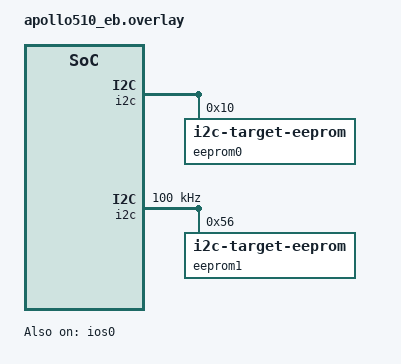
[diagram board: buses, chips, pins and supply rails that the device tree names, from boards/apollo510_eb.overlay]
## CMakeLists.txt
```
# SPDX-License-Identifier: Apache-2.0

cmake_minimum_required(VERSION 3.28.0)

find_package(Zephyr REQUIRED HINTS $ENV{ZEPHYR_BASE})
project(i2c_target_api)

add_subdirectory(common)

target_sources(app PRIVATE src/main.c)
target_sources_ifdef(CONFIG_I2C_TARGET_API_PM app PRIVATE src/test_i2c_pm.c)
```

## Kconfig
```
# SPDX-License-Identifier: Apache-2.0

mainmenu "I2C Target API Test"

source "Kconfig.zephyr"

source "tests/drivers/i2c/i2c_target_api/common/Kconfig"
```

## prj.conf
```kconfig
CONFIG_LOG=y
CONFIG_I2C_LOG_LEVEL_INF=y
CONFIG_BOOT_BANNER=y
CONFIG_ZTEST=y
CONFIG_I2C=y
CONFIG_I2C_TARGET=y
CONFIG_I2C_EEPROM_TARGET=y
CONFIG_I2C_VIRTUAL=y
```

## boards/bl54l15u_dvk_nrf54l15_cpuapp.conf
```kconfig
# Copyright (c) 2024 Nordic Semiconductor ASA
# Copyright (c) 2025 Ezurio LLC
# SPDX-License-Identifier: Apache-2.0

CONFIG_I2C_TARGET_BUFFER_MODE=y
CONFIG_I2C_NRFX_TWIS_BUF_SIZE=256
```

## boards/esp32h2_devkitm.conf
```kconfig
CONFIG_I2C=y
CONFIG_I2C_TARGET=y
CONFIG_APP_DUAL_ROLE_I2C=y
```

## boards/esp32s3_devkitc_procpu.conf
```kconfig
CONFIG_APP_DUAL_ROLE_I2C=y
```

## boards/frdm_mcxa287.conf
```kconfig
# SPDX-FileCopyrightText: Copyright 2026 NXP
# SPDX-License-Identifier: Apache-2.0

CONFIG_I2C_MCUX_LPI2C_BUS_RECOVERY=y
```

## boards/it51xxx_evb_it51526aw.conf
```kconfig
CONFIG_I2C_VIRTUAL=n
```

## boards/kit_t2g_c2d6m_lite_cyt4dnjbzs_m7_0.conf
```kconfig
# SPDX-FileCopyrightText: Copyright (c) 2026 Linumiz
#
# SPDX-License-Identifier: Apache-2.0

CONFIG_I2C_VIRTUAL=n
```

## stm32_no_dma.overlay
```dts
/*
 * SPDX-FileCopyrightText: Copyright The Zephyr Project Contributors
 * SPDX-License-Identifier: Apache-2.0
 */

/* Disable use of DMAs on both I2C interfaces */

&i2c_test_0 {
	/delete-property/ dmas;
	/delete-property/ dma-names;
};

&i2c_test_1 {
	/delete-property/ dmas;
	/delete-property/ dma-names;
};
```

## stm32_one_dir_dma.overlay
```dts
/*
 * SPDX-FileCopyrightText: Copyright The Zephyr Project Contributors
 * SPDX-License-Identifier: Apache-2.0
 */

/* Use DMA only in 1 direction */

&i2c_test_0 {
	dmas = IC2_TEST_0_DMA_RX;
	dma-names = "rx";
};

&i2c_test_1 {
	dmas = IC2_TEST_1_DMA_TX;
	dma-names = "tx";
};
```

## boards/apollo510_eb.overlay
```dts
/* SPDX-License-Identifier: Apache-2.0 */
/* Copyright (c) 2025 Ambiq Micro Inc. */

/*
 * Apollo510 EB overlay for tests/drivers/i2c/i2c_target_api
 *
 * - IOS acts as I2C target (SCL=P11, SDA=P52)
 * - IOM5 acts as I2C master (SCL=P47, SDA=P48)
 * - Physically short SCL and SDA pairs with pull-ups.
 */

&ios0 {
	status = "okay";

	i2c {
		compatible = "ambiq,ios-i2c";
		#address-cells = <1>;
		#size-cells = <0>;
		pinctrl-0 = <&ios_i2c0_default>;
		pinctrl-1 = <&ios_i2c0_sleep>;
		pinctrl-names = "default", "sleep";
		fifo-threshold = <16>;
		status = "okay";

		eeprom0: eeprom@10 {
			compatible = "zephyr,i2c-target-eeprom";
			reg = <0x10>;
			size = <256>;
			address-width = <8>;
			status = "okay";
		};
	};

	/* Ensure SPI device on IOS is disabled when using I2C target */
	spi {
		status = "disabled";
	};
};

/* Use IOM5 as the peer I2C controller to access the target device */
&iom5 {
	i2c {
		compatible = "ambiq,i2c";
		#address-cells = <1>;
		#size-cells = <0>;
		pinctrl-0 = <&i2c5_default>;
		pinctrl-1 = <&i2c5_sleep>;
		pinctrl-names = "default", "sleep";
		clock-frequency = <I2C_BITRATE_STANDARD>;
		status = "okay";

		/* Second target for the test suite expectations */
		eeprom1: eeprom@56 {
			compatible = "zephyr,i2c-target-eeprom";
			reg = <0x56>;
			size = <256>;
			address-width = <8>;
			status = "okay";
		};
	};
};
```

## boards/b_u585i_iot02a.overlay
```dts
/*
 * SPDX-FileCopyrightText: Copyright The Zephyr Project Contributors
 * SPDX-License-Identifier: Apache-2.0
 */

/* I2C bus pins are exposed on the STMod+.
 *
 *  Bus        SDA               SCL
 *          Pin   Hdr         Pin   Hdr
 *  i2c1    PB9   CN3:10      PB8  CN3:7
 *  i2c2    PH5   CN2:10      PH4  CN2:7
 *
 * Short Pin PB9 to PH5, and PB8 to PH4, for the test to pass.
 */

/delete-node/ &eeprom0;

#define IC2_TEST_0_DMA_TX <&gpdma1 13 STM32_DMA_PERIPH_TX>
#define IC2_TEST_0_DMA_RX <&gpdma1 12 STM32_DMA_PERIPH_RX>

i2c_test_0: &i2c1 {
	dmas = IC2_TEST_0_DMA_TX, IC2_TEST_0_DMA_RX;
	dma-names = "tx", "rx";

	eeprom0: eeprom@54 {
		compatible = "zephyr,i2c-target-eeprom";
		reg = <0x54>;
		size = <256>;
	};
};

#define IC2_TEST_1_DMA_TX <&gpdma1 16 STM32_DMA_PERIPH_TX>
#define IC2_TEST_1_DMA_RX <&gpdma1 15 STM32_DMA_PERIPH_RX>

i2c_test_1: &i2c2 {
	dmas = IC2_TEST_1_DMA_TX, IC2_TEST_1_DMA_RX;
	dma-names = "tx", "rx";

	eeprom1: eeprom@56 {
		compatible = "zephyr,i2c-target-eeprom";
		reg = <0x56>;
		size = <256>;
	};
};
```

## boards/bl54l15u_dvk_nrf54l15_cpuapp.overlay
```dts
/*
 * Copyright (c) 2024 Nordic Semiconductor ASA
 * Copyright (c) 2025 Ezurio LLC
 *
 * SPDX-License-Identifier: Apache-2.0
 */

/*
 * SDA = P1.8 and P1.9
 * SCL = P1.10 and P1.11
 */

&pinctrl {
	i2c21_default: i2c21_default {
		group1 {
			psels = <NRF_PSEL(TWIS_SDA, 1, 8)>,
				<NRF_PSEL(TWIS_SCL, 1, 10)>;
			bias-pull-up;
		};
	};

	i2c21_sleep: i2c21_sleep {
		group1 {
			psels = <NRF_PSEL(TWIS_SDA, 1, 8)>,
				<NRF_PSEL(TWIS_SCL, 1, 10)>;
			low-power-enable;
		};
	};

	i2c22_default: i2c22_default {
		group1 {
			psels = <NRF_PSEL(TWIS_SDA, 1, 9)>,
				<NRF_PSEL(TWIS_SCL, 1, 11)>;
			bias-pull-up;
		};
	};

	i2c22_sleep: i2c22_sleep {
		group1 {
			psels = <NRF_PSEL(TWIS_SDA, 1, 9)>,
				<NRF_PSEL(TWIS_SCL, 1, 11)>;
			low-power-enable;
		};
	};
};

&i2c21 {
	pinctrl-0 = <&i2c21_default>;
	pinctrl-1 = <&i2c21_sleep>;
	pinctrl-names = "default", "sleep";
	zephyr,concat-buf-size = <256>;
	status = "okay";

	eeprom1: eeprom@56 {
		compatible = "zephyr,i2c-target-eeprom";
		reg = <0x56>;
		address-width = <8>;
		size = <256>;
	};
};

&i2c22 {
	compatible = "nordic,nrf-twis";
	pinctrl-0 = <&i2c22_default>;
	pinctrl-1 = <&i2c22_sleep>;
	pinctrl-names = "default", "sleep";
	status = "okay";

	eeprom0: eeprom@54 {
		compatible = "zephyr,i2c-target-eeprom";
		reg = <0x54>;
		address-width = <8>;
		size = <256>;
	};
};
```

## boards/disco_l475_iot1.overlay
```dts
/*
 * Copyright (c) 2026 STMicroelectronics
 *
 * SPDX-License-Identifier: Apache-2.0
 */

/* I2C bus pins are exposed on the STMod+.
 *
 *  Bus        SDA               SCL
 *          Pin   Hdr         Pin   Hdr
 *  i2c1    PB9   CN1:9      PB8  CN1:10
 *  i2c3    PC1   CN4:5      PC0  CN4:6
 *
 * Short Pin PB9 to PC1, and PB8 to PC0, for the test to pass.
 */

#define IC2_TEST_0_DMA_TX <&dma1 6 3 (STM32_DMA_PERIPH_TX | STM32_DMA_PRIORITY_HIGH)>
#define IC2_TEST_0_DMA_RX <&dma1 7 3 (STM32_DMA_PERIPH_RX | STM32_DMA_PRIORITY_HIGH)>

i2c_test_0: &i2c1 {
	dmas = IC2_TEST_0_DMA_TX, IC2_TEST_0_DMA_RX;
	dma-names = "tx", "rx";

	eeprom0: eeprom@54 {
		compatible = "zephyr,i2c-target-eeprom";
		reg = <0x54>;
		size = <256>;
	};
};

#define IC2_TEST_1_DMA_TX <&dma1 2 3 (STM32_DMA_PERIPH_TX | STM32_DMA_PRIORITY_HIGH)>
#define IC2_TEST_1_DMA_RX <&dma1 3 3 (STM32_DMA_PERIPH_RX | STM32_DMA_PRIORITY_HIGH)>

i2c_test_1: &i2c3 {
	dmas = IC2_TEST_1_DMA_TX, IC2_TEST_1_DMA_RX;
	dma-names = "tx", "rx";

	eeprom1: eeprom@56 {
		compatible = "zephyr,i2c-target-eeprom";
		reg = <0x56>;
		size = <256>;
	};
};
```

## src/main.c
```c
/*
 * Copyright (c) 2017 BayLibre, SAS
 * Copyright (c) 2020 Nordic Semiconductor ASA
 *
 * SPDX-License-Identifier: Apache-2.0
 */

#include <errno.h>
#include <string.h>

#include <zephyr/kernel.h>
#include <zephyr/device.h>
#include <stdio.h>
#include <zephyr/sys/byteorder.h>
#include <zephyr/sys/util.h>

#include <zephyr/drivers/i2c.h>
#include <zephyr/drivers/i2c/target/eeprom.h>
#include <zephyr/drivers/gpio.h>

#include <zephyr/ztest.h>

#define NODE_EP0 DT_NODELABEL(eeprom0)
#define NODE_EP1 DT_NODELABEL(eeprom1)

#define TEST_DATA_SIZE	MIN(CONFIG_I2C_TEST_DATA_MAX_SIZE, \
			    MIN(DT_PROP(NODE_EP0, size), DT_PROP(NODE_EP1, size)))

#define TRANSFER_TIMEOUT_THRESHOLD_MS CONFIG_I2C_TEST_TRANSFER_TIMEOUT_THRESHOLD_MS
#define TRANSFER_TIMEOUT_MS CONFIG_I2C_TRANSFER_TIMEOUT_MS

#if CONFIG_I2C_TRANSFER_TIMEOUT_SUPPORTED
BUILD_ASSERT(TRANSFER_TIMEOUT_THRESHOLD_MS < TRANSFER_TIMEOUT_MS);
#endif /* CONFIG_I2C_TRANSFER_TIMEOUT_SUPPORTED */

static uint8_t eeprom_0_data[TEST_DATA_SIZE];
static uint8_t eeprom_1_data[TEST_DATA_SIZE];
static uint8_t i2c_buffer[TEST_DATA_SIZE];

/*
 * We need 5x(buffer size) + 1 to print a comma-separated list of each
 * byte in hex, plus a null.
 */
uint8_t buffer_print_eeprom[TEST_DATA_SIZE * 5 + 1];
uint8_t buffer_print_i2c[TEST_DATA_SIZE * 5 + 1];

static void init_eeprom_test_data(void)
{
	size_t n;

	/*
	 * Initialize EEPROM data with printable ASCII value (range [32 126]).
	 * Make sure content differs between eeprom_0_data[] and eeprom_1_data[].
	 */
	for (n = 0; n < sizeof(eeprom_0_data); n++) {
		eeprom_0_data[n] = 32 + (n % (126 - 32));
	}

	for (n = 0; n < sizeof(eeprom_1_data); n++) {
		eeprom_1_data[n] = 32 + (((n + 10) * 3) % (126 - 32));
	}
}

static void to_display_format(const uint8_t *src, size_t size, char *dst)
{
	size_t i;

	for (i = 0; i < size; i++) {
		sprintf(dst + 5 * i, "0x%02x,", src[i]);
	}
}

static int run_full_read(const struct device *i2c, uint8_t addr,
			 uint8_t addr_width, const uint8_t *comp_buffer)
{
	int ret;
	uint8_t start_addr[2];

	TC_PRINT("Testing full read: Master: %s, address: 0x%x\n",
		 i2c->name, addr);

	/* Read EEPROM from I2C Master requests, then compare */
	memset(start_addr, 0, sizeof(start_addr));
	ret = i2c_write_read(i2c, addr, start_addr, (addr_width >> 3), i2c_buffer, TEST_DATA_SIZE);
	zassert_equal(ret, 0, "Failed to read EEPROM");

	if (memcmp(i2c_buffer, comp_buffer, TEST_DATA_SIZE)) {
		to_display_format(i2c_buffer, TEST_DATA_SIZE,
				  buffer_print_i2c);
		to_display_format(comp_buffer, TEST_DATA_SIZE,
				  buffer_print_eeprom);
		TC_PRINT("Error: Buffer contents are different: %s\n",
			 buffer_print_i2c);
		TC_PRINT("                         vs expected: %s\n",
			 buffer_print_eeprom);
		return -EIO;
	}

	return 0;
}

static int run_partial_read(const struct device *i2c, uint8_t addr,
			    uint8_t addr_width, const uint8_t *comp_buffer, unsigned int offset)
{
	int ret;
	uint8_t start_addr[2];

	TC_PRINT("Testing partial read. Master: %s, address: 0x%x, off=%d\n",
		 i2c->name, addr, offset);

	switch (addr_width) {
	case 8:
		start_addr[0] = (uint8_t) (offset & 0xFF);
	break;
	case 16:
		sys_put_be16((uint16_t)(offset & 0xFFFF), start_addr);
	break;
	default:
		return -EINVAL;
	}

	ret = i2c_write_read(i2c, addr,
			     start_addr, (addr_width >> 3), i2c_buffer, TEST_DATA_SIZE-offset);
	zassert_equal(ret, 0, "Failed to read EEPROM");

	if (memcmp(i2c_buffer, &comp_buffer[offset], TEST_DATA_SIZE-offset)) {
		to_display_format(i2c_buffer, TEST_DATA_SIZE-offset,
				  buffer_print_i2c);
		to_display_format(&comp_buffer[offset], TEST_DATA_SIZE-offset,
				  buffer_print_eeprom);
		TC_PRINT("Error: Buffer contents are different: %s\n",
			 buffer_print_i2c);
		TC_PRINT("                         vs expected: %s\n",
			 buffer_print_eeprom);
		return -EIO;
	}

	return 0;
}

static int run_program_read(const struct device *i2c, uint8_t addr,
			    uint8_t addr_width, unsigned int offset)
{
	int ret, i;
	uint8_t buf[TEST_DATA_SIZE + 2];
	uint8_t addr_size;

	TC_PRINT("Testing program. Master: %s, address: 0x%x, off=%d\n",
		i2c->name, addr, offset);

	switch (addr_width) {
	case 8:
		buf[0] = (uint8_t) (offset & 0xFF);
		addr_size = 1;
	break;
	case 16:
		sys_put_be16((uint16_t)(offset & 0xFFFF), buf);
		addr_size = 2;
	break;
	default:
		return -EINVAL;
	}

	for (i = 0; i < TEST_DATA_SIZE - offset; ++i) {
		buf[i + addr_size] = i & 0xFF;
	}

	ret = i2c_write(i2c, &buf[0], TEST_DATA_SIZE - offset + addr_size, addr);
	zassert_equal(ret, 0, "Failed to write EEPROM");

	/* Read back EEPROM from I2C Master requests, then compare */
	ret = i2c_write_read(i2c, addr, buf, addr_size, i2c_buffer, TEST_DATA_SIZE - offset);
	zassert_equal(ret, 0, "Failed to read EEPROM");

	for (i = 0 ; i < TEST_DATA_SIZE-offset ; ++i) {
		if (i2c_buffer[i] != (i & 0xFF)) {
			to_display_format(i2c_buffer, TEST_DATA_SIZE-offset,
					  buffer_print_i2c);
			TC_PRINT("Error: Unexpected %u (%02x) buffer content: %s\n",
				 i, i2c_buffer[i], buffer_print_i2c);
			return -EIO;
		}
	}

	return 0;
}

ZTEST(i2c_eeprom_target, test_deinit)
{
	const struct device *const i2c_0 = DEVICE_DT_GET(DT_BUS(NODE_EP0));
	const struct device *const i2c_1 = DEVICE_DT_GET(DT_BUS(NODE_EP1));
	const struct gpio_dt_spec sda_pin_0 =
		GPIO_DT_SPEC_GET_OR(DT_PATH(zephyr_user), sda0_gpios, {});
	const struct gpio_dt_spec scl_pin_0 =
		GPIO_DT_SPEC_GET_OR(DT_PATH(zephyr_user), scl0_gpios, {});
	const struct gpio_dt_spec sda_pin_1 =
		GPIO_DT_SPEC_GET_OR(DT_PATH(zephyr_user), sda1_gpios, {});
	const struct gpio_dt_spec scl_pin_1 =
		GPIO_DT_SPEC_GET_OR(DT_PATH(zephyr_user), scl1_gpios, {});
	int ret;

	if (i2c_0 == i2c_1) {
		TC_PRINT("  gpio loopback required for test\n");
		ztest_test_skip();
	}

	if (scl_pin_0.port == NULL || sda_pin_0.port == NULL ||
	    scl_pin_1.port == NULL || sda_pin_1.port == NULL) {
		TC_PRINT("  bus gpios not specified in zephyr,path\n");
		ztest_test_skip();
	}

	ret = device_deinit(i2c_0);
	if (ret == -ENOTSUP) {
		TC_PRINT("  device deinit not supported\n");
		ztest_test_skip();
	}

	zassert_ok(ret);

	ret = device_deinit(i2c_1);
	if (ret == -ENOTSUP) {
		TC_PRINT("  device deinit not supported\n");
		zassert_ok(device_init(i2c_0));
		ztest_test_skip();
	}

	zassert_ok(gpio_pin_configure_dt(&sda_pin_0, GPIO_INPUT));
	zassert_ok(gpio_pin_configure_dt(&sda_pin_1, GPIO_OUTPUT_INACTIVE));
	zassert_ok(gpio_pin_configure_dt(&scl_pin_0, GPIO_INPUT));
	zassert_ok(gpio_pin_configure_dt(&scl_pin_1, GPIO_OUTPUT_INACTIVE));
	zassert_equal(gpio_pin_get_dt(&sda_pin_0), 0);
	zassert_equal(gpio_pin_get_dt(&scl_pin_0), 0);
	zassert_ok(gpio_pin_set_dt(&sda_pin_1, 1));
	zassert_ok(gpio_pin_set_dt(&scl_pin_1, 1));
	zassert_equal(gpio_pin_get_dt(&sda_pin_0), 1);
	zassert_equal(gpio_pin_get_dt(&scl_pin_0), 1);
	zassert_ok(gpio_pin_configure_dt(&sda_pin_1, GPIO_INPUT));
	zassert_ok(gpio_pin_configure_dt(&scl_pin_1, GPIO_INPUT));
	zassert_ok(device_init(i2c_0));
	zassert_ok(device_init(i2c_1));
}

#if CONFIG_I2C_TRANSFER_TIMEOUT_SUPPORTED
ZTEST(i2c_eeprom_target, test_timeout)
{
	const struct device *const i2c_0 = DEVICE_DT_GET(DT_BUS(NODE_EP0));
	const struct device *const i2c_1 = DEVICE_DT_GET(DT_BUS(NODE_EP1));
	const struct gpio_dt_spec sda_pin_0 =
		GPIO_DT_SPEC_GET_OR(DT_PATH(zephyr_user), sda0_gpios, {});
	const struct gpio_dt_spec scl_pin_0 =
		GPIO_DT_SPEC_GET_OR(DT_PATH(zephyr_user), scl0_gpios, {});
	int ret;
	uint8_t buf[4] = {0};
	int64_t uptime_start_ms;
	int64_t transfer_duration_ms;

	if (i2c_0 == i2c_1) {
		TC_PRINT("  GPIO loopback required\n");
		ztest_test_skip();
	}

	if (scl_pin_0.port == NULL || sda_pin_0.port == NULL) {
		TC_PRINT("  EP0 bus SCL or SDA gpios not specified in zephyr,user\n");
		ztest_test_skip();
	}

	ret = device_deinit(i2c_0);
	if (ret == -ENOTSUP) {
		TC_PRINT("  EP0 bus device deinit not supported\n");
		ztest_test_skip();
	}

	zassert_ok(ret);

	/* Simulate "stuck" bus by generating start condition and holding SDA */
	zassert_ok(gpio_pin_configure_dt(&scl_pin_0, GPIO_INPUT));
	k_msleep(1);
	zassert_ok(gpio_pin_configure_dt(&sda_pin_0, GPIO_OUTPUT_INACTIVE));
	k_msleep(1);

	uptime_start_ms = k_uptime_get();
	ret = i2c_write(i2c_1, &buf[0], sizeof(buf), 10);
	transfer_duration_ms = k_uptime_get() - uptime_start_ms;
	zassert_equal(ret, -ETIMEDOUT, "I2C write should have failed due to \"stuck\" SDA line");
	zassert_within(transfer_duration_ms, TRANSFER_TIMEOUT_MS, TRANSFER_TIMEOUT_THRESHOLD_MS);

	/* Release "stuck" bus by generating stop condition */
	zassert_ok(gpio_pin_configure_dt(&sda_pin_0, GPIO_INPUT));
	k_msleep(1);

	zassert_ok(device_init(i2c_0));
}
#endif /* CONFIG_I2C_TRANSFER_TIMEOUT_SUPPORTED */

ZTEST(i2c_eeprom_target, test_eeprom_target)
{
	const struct device *const eeprom_0 = DEVICE_DT_GET(NODE_EP0);
	const struct device *const i2c_0 = DEVICE_DT_GET(DT_BUS(NODE_EP0));
	int addr_0 = DT_REG_ADDR(NODE_EP0);
	uint8_t addr_0_width = DT_PROP_OR(NODE_EP0, address_width, 8);
	const struct device *const eeprom_1 = DEVICE_DT_GET(NODE_EP1);
	const struct device *const i2c_1 = DEVICE_DT_GET(DT_BUS(NODE_EP1));
	int addr_1 = DT_REG_ADDR(NODE_EP1);
	uint8_t addr_1_width = DT_PROP_OR(NODE_EP1, address_width, 8);
	int ret, offset;

	init_eeprom_test_data();

	zassert_not_null(i2c_0, "EEPROM 0 - I2C bus not found");
	zassert_not_null(eeprom_0, "EEPROM 0 device not found");

	zassert_true(device_is_ready(i2c_0), "EEPROM 0 - I2C bus not ready");

	TC_PRINT("Found EEPROM 0 on I2C bus device %s at addr %02x\n",
		 i2c_0->name, addr_0);

	zassert_not_null(i2c_1, "EEPROM 1 - I2C device not found");
	zassert_not_null(eeprom_1, "EEPROM 1 device not found");

	zassert_true(device_is_ready(i2c_1), "EEPROM 1 - I2C bus not ready");

	TC_PRINT("Found EEPROM 1 on I2C bus device %s at addr %02x\n",
		 i2c_1->name, addr_1);

	if (IS_ENABLED(CONFIG_APP_DUAL_ROLE_I2C)) {
		TC_PRINT("Testing dual-role\n");
	} else {
		TC_PRINT("Testing single-role\n");
	}

	/* Program differentiable data into the two devices through a back door
	 * that doesn't use I2C.
	 */
	ret = eeprom_target_write_data(eeprom_0, 0, eeprom_0_data, TEST_DATA_SIZE);
	zassert_equal(ret, 0, "Failed to program EEPROM 0");
	if (IS_ENABLED(CONFIG_APP_DUAL_ROLE_I2C)) {
		ret = eeprom_target_write_data(eeprom_1, 0, eeprom_1_data,
					       TEST_DATA_SIZE);
		zassert_equal(ret, 0, "Failed to program EEPROM 1");
	}

	/* Attach each EEPROM to its owning bus as a target device. */
	ret = i2c_target_driver_register(eeprom_0);
	zassert_equal(ret, 0, "Failed to register EEPROM 0");

	if (IS_ENABLED(CONFIG_APP_DUAL_ROLE_I2C)) {
		ret = i2c_target_driver_register(eeprom_1);
		zassert_equal(ret, 0, "Failed to register EEPROM 1");
	}

	/* The simulated EP0 is configured to be accessed as a target device
	 * at addr_0 on i2c_0 and should expose eeprom_0_data.  The validation
	 * uses i2c_1 as a bus master to access this device, which works because
	 * i2c_0 and i2_c have their SDA (SCL) pins shorted (they are on the
	 * same physical bus).  Thus in these calls i2c_1 is a master device
	 * operating on the target address addr_0.
	 *
	 * Similarly validation of EP1 uses i2c_0 as a master with addr_1 and
	 * eeprom_1_data for validation.
	 */
	ret = run_full_read(i2c_1, addr_0, addr_0_width, eeprom_0_data);
	zassert_equal(ret, 0,
		     "Full I2C read from EP0 failed");
	if (IS_ENABLED(CONFIG_APP_DUAL_ROLE_I2C)) {
		ret = run_full_read(i2c_0, addr_1, addr_1_width, eeprom_1_data);
		zassert_equal(ret, 0,
			      "Full I2C read from EP1 failed");
	}

	for (offset = 0 ; offset < TEST_DATA_SIZE-1 ; ++offset) {
		zassert_equal(0, run_partial_read(i2c_1, addr_0,
			      addr_0_width, eeprom_0_data, offset),
			      "Partial I2C read EP0 failed");
		if (IS_ENABLED(CONFIG_APP_DUAL_ROLE_I2C)) {
			zassert_equal(0, run_partial_read(i2c_0, addr_1,
							  addr_1_width,
							  eeprom_1_data,
							  offset),
				      "Partial I2C read EP1 failed");
		}
	}

	for (offset = 0 ; offset < TEST_DATA_SIZE-1 ; ++offset) {
		zassert_equal(0, run_program_read(i2c_1, addr_0,
							  addr_0_width, offset),
			      "Program I2C read EP0 failed");
		if (IS_ENABLED(CONFIG_APP_DUAL_ROLE_I2C)) {
			zassert_equal(0, run_program_read(i2c_0, addr_1,
							  addr_1_width, offset),
				      "Program I2C read EP1 failed");
		}
	}

	/* Detach EEPROM */
	ret = i2c_target_driver_unregister(eeprom_0);
	zassert_equal(ret, 0, "Failed to unregister EEPROM 0");

	if (IS_ENABLED(CONFIG_APP_DUAL_ROLE_I2C)) {
		ret = i2c_target_driver_unregister(eeprom_1);
		zassert_equal(ret, 0, "Failed to unregister EEPROM 1");
	}
}

ZTEST_SUITE(i2c_eeprom_target, NULL, NULL, NULL, NULL, NULL);
```

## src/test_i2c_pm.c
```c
/*
 * SPDX-FileCopyrightText: Copyright (c) 2026 Espressif Systems (Shanghai) CO LTD
 * SPDX-License-Identifier: Apache-2.0
 */

#include <string.h>

#include <zephyr/kernel.h>
#include <zephyr/ztest.h>
#include <zephyr/drivers/i2c.h>
#include <zephyr/drivers/i2c/target/eeprom.h>
#include <zephyr/pm/pm.h>
#include <zephyr/pm/policy.h>

#if defined(CONFIG_SMP)
#include <zephyr/arch/cpu.h>
#endif

#define NODE_EP0 DT_NODELABEL(eeprom0)
#define NODE_EP1 DT_NODELABEL(eeprom1)

#define I2C_PM_LEN 16
#define I2C_PM_MIN_IDLE_MS 100
#define I2C_PM_IDLE_MARGIN_MS 10

static atomic_t i2c_pm_entries[PM_STATE_COUNT];
static bool i2c_pm_registered;
static bool i2c_pm_notifier_on;

static void count_state_entry(enum pm_state state)
{
	if (state < PM_STATE_COUNT) {
		atomic_inc(&i2c_pm_entries[state]);
	}
}

static struct pm_notifier i2c_pm_notifier = {
	.state_entry = count_state_entry,
};

static void reset_state_counts(void)
{
	for (int state = 0; state < PM_STATE_COUNT; state++) {
		atomic_clear(&i2c_pm_entries[state]);
	}
}

static const char *get_state_name(enum pm_state state)
{
	switch (state) {
	case PM_STATE_ACTIVE:
		return "PM_STATE_ACTIVE";
	case PM_STATE_RUNTIME_IDLE:
		return "PM_STATE_RUNTIME_IDLE";
	case PM_STATE_SUSPEND_TO_IDLE:
		return "PM_STATE_SUSPEND_TO_IDLE";
	case PM_STATE_STANDBY:
		return "PM_STATE_STANDBY";
	case PM_STATE_SUSPEND_TO_RAM:
		return "PM_STATE_SUSPEND_TO_RAM";
	case PM_STATE_SUSPEND_TO_DISK:
		return "PM_STATE_SUSPEND_TO_DISK";
	case PM_STATE_SOFT_OFF:
		return "PM_STATE_SOFT_OFF";
	default:
		return "unknown";
	}
}

static bool report_state_counts(void)
{
	bool entered = false;

	for (int state = 0; state < PM_STATE_COUNT; state++) {
		atomic_val_t count = atomic_get(&i2c_pm_entries[state]);

		if (count > 0) {
			printk("entered %s, count %ld\n",
			       get_state_name((enum pm_state)state), (long)count);
			entered = true;
		}
	}

	return entered;
}

static uint8_t get_cpu_id(void)
{
#if defined(CONFIG_SMP)
	return arch_curr_cpu()->id;
#else
	return 0U;
#endif
}

static uint32_t get_sleep_time_ms(const struct pm_state_info *state)
{
	uint64_t need_us = (uint64_t)state->min_residency_us + state->exit_latency_us;
	uint32_t need_ms = (uint32_t)DIV_ROUND_UP(need_us, 1000U);

	if (need_ms < I2C_PM_MIN_IDLE_MS) {
		return I2C_PM_MIN_IDLE_MS;
	}

	return need_ms + I2C_PM_IDLE_MARGIN_MS;
}

static void lock_other_states(const struct pm_state_info *states, uint8_t count,
			      const struct pm_state_info *keep, bool lock)
{
	for (uint8_t i = 0; i < count; i++) {
		if (&states[i] == keep) {
			continue;
		}

		if (lock) {
			pm_policy_state_lock_get(states[i].state, states[i].substate_id);
		} else {
			pm_policy_state_lock_put(states[i].state, states[i].substate_id);
		}
	}
}

static void check_transfer(const struct device *i2c, uint16_t addr)
{
	uint8_t tx[1 + I2C_PM_LEN];
	uint8_t rx[I2C_PM_LEN];
	int ret;

	tx[0] = 0;
	for (int i = 0; i < I2C_PM_LEN; i++) {
		tx[i + 1] = (uint8_t)i;
	}

	memset(rx, 0, sizeof(rx));

	ret = i2c_write(i2c, tx, sizeof(tx), addr);
	zassert_ok(ret, "I2C write failed, code %d", ret);

	ret = i2c_write_read(i2c, addr, tx, 1, rx, sizeof(rx));
	zassert_ok(ret, "I2C read failed, code %d", ret);

	zassert_equal(memcmp(&tx[1], rx, sizeof(rx)), 0, "RX buffer does not match TX");
}

/* The target holds a PM lock while it is registered, so the idle runs detached.
 * The second pass repeats that after a finished transfer.
 */
static void check_target_after_idle(const struct pm_state_info *state, uint32_t idle_ms)
{
	const struct device *const eeprom = DEVICE_DT_GET(NODE_EP0);
	const struct device *const i2c = DEVICE_DT_GET(DT_BUS(NODE_EP1));
	uint16_t addr = DT_REG_ADDR(NODE_EP0);

	for (int cycle = 0; cycle < 2; cycle++) {
		int ret;

		reset_state_counts();
		k_msleep(idle_ms);
		(void)report_state_counts();
		zassert_true(atomic_get(&i2c_pm_entries[state->state]) > 0,
			     "power state %s was not entered", get_state_name(state->state));

		ret = i2c_target_driver_register(eeprom);
		zassert_ok(ret, "Failed to register EEPROM target, code %d", ret);
		i2c_pm_registered = true;

		check_transfer(i2c, addr);

		ret = i2c_target_driver_unregister(eeprom);
		i2c_pm_registered = false;
		zassert_ok(ret, "Failed to unregister EEPROM target, code %d", ret);
	}
}

static void run_in_each_state(void (*fn)(const struct pm_state_info *state, uint32_t idle_ms))
{
	const struct pm_state_info *states;
	uint8_t count = pm_state_cpu_get_all(get_cpu_id(), &states);
	bool tested = false;

	for (uint8_t i = 0; i < count; i++) {
		const struct pm_state_info *state = &states[i];
		uint32_t sleep_ms;

		if (state->state == PM_STATE_SOFT_OFF) {
			continue;
		}

		sleep_ms = get_sleep_time_ms(state);
		tested = true;
		if (state->substate_id == 0U) {
			printk("testing %s for %u ms\n", get_state_name(state->state), sleep_ms);
		} else {
			printk("testing %s substate %u for %u ms\n", get_state_name(state->state),
			       state->substate_id, sleep_ms);
		}

		lock_other_states(states, count, state, true);
		fn(state, sleep_ms);
		lock_other_states(states, count, state, false);
	}

	zassert_true(tested, "no idle power state is enabled");
}

static void i2c_pm_teardown(void *fixture)
{
	const struct device *const eeprom = DEVICE_DT_GET(NODE_EP0);

	ARG_UNUSED(fixture);

	if (i2c_pm_registered) {
		int ret;

		ret = i2c_target_driver_unregister(eeprom);
		i2c_pm_registered = false;
		zassert_ok(ret, "Failed to unregister EEPROM target, code %d", ret);
	}

	if (i2c_pm_notifier_on) {
		int ret;

		ret = pm_notifier_unregister(&i2c_pm_notifier);
		i2c_pm_notifier_on = false;
		zassert_ok(ret, "Failed to unregister PM notifier, code %d", ret);
	}
}

ZTEST(i2c_pm, test_i2c)
{
	const struct device *const eeprom = DEVICE_DT_GET(NODE_EP0);
	const struct device *const i2c = DEVICE_DT_GET(DT_BUS(NODE_EP1));

	zassert_equal(DT_PROP_OR(NODE_EP0, address_width, 8), 8, "EEPROM address width is not 8");
	zassert_true(device_is_ready(eeprom), "EEPROM target is not ready");
	zassert_true(device_is_ready(i2c), "I2C controller is not ready");

	pm_notifier_register(&i2c_pm_notifier);
	i2c_pm_notifier_on = true;

	run_in_each_state(check_target_after_idle);
}

ZTEST_SUITE(i2c_pm, NULL, NULL, NULL, i2c_pm_teardown, NULL);
```
